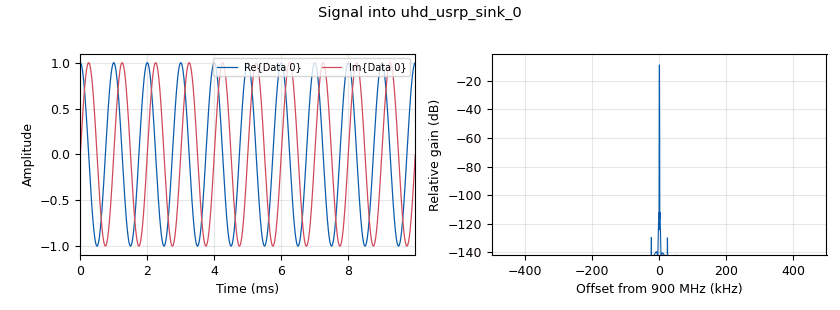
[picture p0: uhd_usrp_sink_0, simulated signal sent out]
<?xml version='1.0' encoding='utf-8'?>
<?grc format='1' created='3.7.13'?>
<flow_graph>
<block>
<key>options</key>
<param><key>id</key><value>top_block</value></param>
<param><key>generate_options</key><value>qt_gui</value></param>
</block>
<block>
<key>variable</key>
<param><key>id</key><value>samp_rate</value></param>
<param><key>value</key><value>1e6</value></param>
</block>
<block>
<key>analog_sig_source_x</key>
<param><key>id</key><value>analog_sig_source_x_0</value></param>
<param><key>amp</key><value>1</value></param>
<param><key>freq</key><value>1000</value></param>
<param><key>offset</key><value>0</value></param>
<param><key>type</key><value>complex</value></param>
<param><key>samp_rate</key><value>samp_rate</value></param>
<param><key>waveform</key><value>analog.GR_COS_WAVE</value></param>
</block>
<block>
<key>analog_sig_source_x</key>
<param><key>id</key><value>analog_sig_source_x_1</value></param>
<param><key>amp</key><value>1</value></param>
<param><key>freq</key><value>1</value></param>
<param><key>offset</key><value>0</value></param>
<param><key>type</key><value>short</value></param>
<param><key>samp_rate</key><value>samp_rate</value></param>
<param><key>waveform</key><value>analog.GR_SQR_WAVE</value></param>
</block>
<block>
<key>blocks_burst_tagger</key>
<param><key>id</key><value>blocks_burst_tagger_0</value></param>
<param><key>false_key</key><value>tx_eob</value></param>
<param><key>false_value</key><value>True</value></param>
<param><key>type</key><value>complex</value></param>
<param><key>true_key</key><value>tx_sob</value></param>
<param><key>true_value</key><value>True</value></param>
</block>
<block>
<key>blocks_head</key>
<param><key>id</key><value>blocks_head_0</value></param>
<param><key>num_items</key><value>1000000</value></param>
<param><key>type</key><value>complex</value></param>
</block>
<block>
<key>blocks_tag_debug</key>
<param><key>id</key><value>blocks_tag_debug_0</value></param>
<param><key>type</key><value>complex</value></param>
</block>
<block>
<key>qtgui_time_sink_x</key>
<param><key>id</key><value>qtgui_time_sink_x_0</value></param>
<param><key>color1</key><value>"blue"</value></param>
<param><key>label1</key><value></value></param>
<param><key>color2</key><value>"red"</value></param>
<param><key>label2</key><value></value></param>
<param><key>size</key><value>2000</value></param>
<param><key>srate</key><value>samp_rate</value></param>
<param><key>type</key><value>complex</value></param>
</block>
<block>
<key>uhd_usrp_sink</key>
<param><key>id</key><value>uhd_usrp_sink_0</value></param>
<param><key>ant0</key><value>TX/RX</value></param>
<param><key>center_freq0</key><value>900e6</value></param>
<param><key>norm_gain0</key><value>False</value></param>
<param><key>gain0</key><value>45</value></param>
<param><key>clock_rate</key><value>0.0</value></param>
<param><key>dev_args</key><value>""</value></param>
<param><key>type</key><value>fc32</value></param>
<param><key>sd_spec0</key><value>A:A</value></param>
<param><key>samp_rate</key><value>samp_rate</value></param>
<param><key>hide_cmd_port</key><value>False</value></param>
<param><key>hide_lo_controls</key><value>True</value></param>
<param><key>sync</key><value></value></param>
<param><key>len_tag_name</key><value></value></param>
</block>
<block>
<key>uhd_usrp_source</key>
<param><key>id</key><value>uhd_usrp_source_0</value></param>
<param><key>ant0</key><value>TX/RX</value></param>
<param><key>center_freq0</key><value>900e6</value></param>
<param><key>dc_offs_enb0</key><value>True</value></param>
<param><key>iq_imbal_enb0</key><value>True</value></param>
<param><key>norm_gain0</key><value>False</value></param>
<param><key>gain0</key><value>30</value></param>
<param><key>clock_rate</key><value>0.0</value></param>
<param><key>dev_args</key><value>""</value></param>
<param><key>sd_spec0</key><value>A:A</value></param>
<param><key>type</key><value>fc32</value></param>
<param><key>samp_rate</key><value>samp_rate</value></param>
<param><key>hide_cmd_port</key><value>False</value></param>
<param><key>hide_lo_controls</key><value>True</value></param>
<param><key>sync</key><value></value></param>
</block>
<connection><source_block_id>analog_sig_source_x_0</source_block_id><sink_block_id>blocks_head_0</sink_block_id><source_key>0</source_key><sink_key>0</sink_key></connection>
<connection><source_block_id>analog_sig_source_x_1</source_block_id><sink_block_id>blocks_burst_tagger_0</sink_block_id><source_key>0</source_key><sink_key>1</sink_key></connection>
<connection><source_block_id>blocks_burst_tagger_0</source_block_id><sink_block_id>blocks_tag_debug_0</sink_block_id><source_key>0</source_key><sink_key>0</sink_key></connection>
<connection><source_block_id>blocks_burst_tagger_0</source_block_id><sink_block_id>uhd_usrp_sink_0</sink_block_id><source_key>0</source_key><sink_key>0</sink_key></connection>
<connection><source_block_id>blocks_head_0</source_block_id><sink_block_id>blocks_burst_tagger_0</sink_block_id><source_key>0</source_key><sink_key>0</sink_key></connection>
<connection><source_block_id>uhd_usrp_source_0</source_block_id><sink_block_id>qtgui_time_sink_x_0</sink_block_id><source_key>0</source_key><sink_key>0</sink_key></connection>
</flow_graph>
